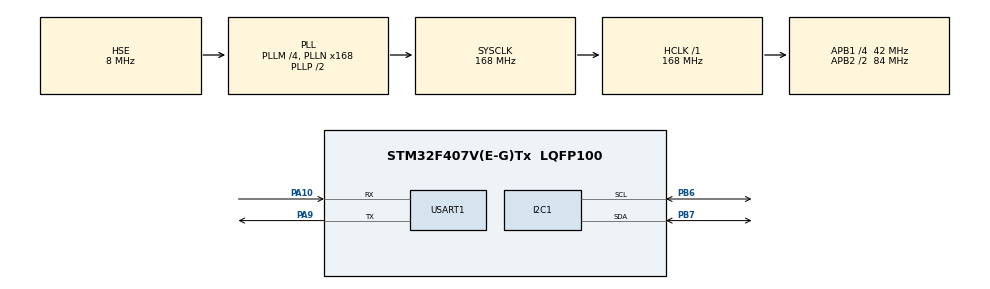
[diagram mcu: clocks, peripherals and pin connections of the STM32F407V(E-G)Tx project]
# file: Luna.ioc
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I2C1.I2C_Mode=I2C_Fast
Mcu.Family=STM32F4
Mcu.Name=STM32F407V(E-G)Tx
Mcu.Package=LQFP100
NVIC.PriorityGroup=NVIC_PRIORITYGROUP_4
PA10.Mode=Asynchronous
PA10.Signal=USART1_RX
PA13.Mode=Serial_Wire
PA13.Signal=SYS_JTMS-SWDIO
PA14.Mode=Serial_Wire
PA14.Signal=SYS_JTCK-SWCLK
PA9.Mode=Asynchronous
PA9.Signal=USART1_TX
PB6.Mode=I2C
PB6.Signal=I2C1_SCL
PB7.Mode=I2C
PB7.Signal=I2C1_SDA
PH0-OSC_IN.Mode=HSE-External-Oscillator
PH0-OSC_IN.Signal=RCC_OSC_IN
PH1-OSC_OUT.Mode=HSE-External-Oscillator
PH1-OSC_OUT.Signal=RCC_OSC_OUT
ProjectManager.HeapSize=0x200
ProjectManager.StackSize=0x400
ProjectManager.TargetToolchain=MDK-ARM V5.32
RCC.48MHZClocksFreq_Value=84000000
RCC.AHBFreq_Value=168000000
RCC.APB1CLKDivider=RCC_HCLK_DIV4
RCC.APB1Freq_Value=42000000
RCC.APB1TimFreq_Value=84000000
RCC.APB2CLKDivider=RCC_HCLK_DIV2
RCC.APB2Freq_Value=84000000
RCC.APB2TimFreq_Value=168000000
RCC.CortexFreq_Value=168000000
RCC.HCLKFreq_Value=168000000
RCC.HSE_VALUE=8000000
RCC.HSI_VALUE=16000000
RCC.LSE_VALUE=32768
RCC.PLLM=4
RCC.PLLN=168
RCC.PLLSourceVirtual=RCC_PLLSOURCE_HSE
RCC.SYSCLKFreq_VALUE=168000000
RCC.SYSCLKSource=RCC_SYSCLKSOURCE_PLLCLK
RCC.VCOOutputFreq_Value=336000000
USART1.VirtualMode=VM_ASYNC
board=custom

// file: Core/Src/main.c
/* USER CODE BEGIN Header */
/**
  ******************************************************************************
  * @file           : main.c
  * @brief          : Main program body
  ******************************************************************************
  * @attention
  *
  * <h2><center>&copy; Copyright (c) 2022 STMicroelectronics.
  * All rights reserved.</center></h2>
  *
  * This software component is licensed by ST under BSD 3-Clause license,
  * the "License"; You may not use this file except in compliance with the
  * License. You may obtain a copy of the License at:
  *                        opensource.org/licenses/BSD-3-Clause
  *
  ******************************************************************************
  */
/* USER CODE END Header */
#include "main.h"
#include "i2c.h"
#include "usart.h"
#include "gpio.h"

/* USER CODE BEGIN Includes */
#include "tfluna_i2c.h"
#include "stdio.h"

/* USER CODE END Includes */

/* USER CODE BEGIN PTD */
TF_Luna_Lidar TF_Luna_1;
int16_t  tfAddr = TFL_DEF_ADR;    // default I2C address = 0x10 (7 bit)
uint16_t tfFrame = TFL_DEF_FPS;   // default frame rate
// device variables passed back by getData
int16_t  tfDist = 0 ;   // distance in centimeters
int16_t  tfFlux = 0 ;   // signal quality in arbitrary units
int16_t  tfTemp = 0 ;   // temperature in 0.01 degree Celsius
// other device variables
uint16_t tfTime = 0;    // devie clock in milliseconds
uint8_t  tfVer[3];      // device version number
uint8_t  tfCode[14];    // device serial number
// sub-loop counter for Time display
uint8_t tfCount = 0;
/* USER CODE END PTD */

void SystemClock_Config(void);

int main(void)
{

  /* MCU Configuration--------------------------------------------------------*/

  /* Reset of all peripherals, Initializes the Flash interface and the Systick. */
  HAL_Init();

  /* Configure the system clock */
  SystemClock_Config();

  /* Initialize all configured peripherals */
  MX_GPIO_Init();
  MX_I2C1_Init();
  MX_USART1_UART_Init();
  /* USER CODE BEGIN 2 */
	TF_Luna_init(&TF_Luna_1, &hi2c1, 0x20); //0x10->7bit. 7bit Slave address has been already shifting to the left in the library.
  /* USER CODE END 2 */

  /* Infinite loop */
  while (1)
  {

    /* USER CODE BEGIN 3 */
		getData(&TF_Luna_1, &tfDist, &tfFlux, &tfTemp);
    printf("dist = %d\n",tfDist);
    HAL_Delay(4); // 250Hz
 // HAL_Delay(10); // 100Hz
  }
  /* USER CODE END 3 */
}

void SystemClock_Config(void)
{
  RCC_OscInitTypeDef RCC_OscInitStruct = {0};
  RCC_ClkInitTypeDef RCC_ClkInitStruct = {0};

  /** Configure the main internal regulator output voltage
  */
  __HAL_RCC_PWR_CLK_ENABLE();
  __HAL_PWR_VOLTAGESCALING_CONFIG(PWR_REGULATOR_VOLTAGE_SCALE1);
  /** Initializes the RCC Oscillators according to the specified parameters
  * in the RCC_OscInitTypeDef structure.
  */
  RCC_OscInitStruct.OscillatorType = RCC_OSCILLATORTYPE_HSE;
  RCC_OscInitStruct.HSEState = RCC_HSE_ON;
  RCC_OscInitStruct.PLL.PLLState = RCC_PLL_ON;
  RCC_OscInitStruct.PLL.PLLSource = RCC_PLLSOURCE_HSE;
  RCC_OscInitStruct.PLL.PLLM = 4;
  RCC_OscInitStruct.PLL.PLLN = 168;
  RCC_OscInitStruct.PLL.PLLP = RCC_PLLP_DIV2;
  RCC_OscInitStruct.PLL.PLLQ = 4;
  if (HAL_RCC_OscConfig(&RCC_OscInitStruct) != HAL_OK)
  {
    Error_Handler();
  }
  /** Initializes the CPU, AHB and APB buses clocks
  */
  RCC_ClkInitStruct.ClockType = RCC_CLOCKTYPE_HCLK|RCC_CLOCKTYPE_SYSCLK
                              |RCC_CLOCKTYPE_PCLK1|RCC_CLOCKTYPE_PCLK2;
  RCC_ClkInitStruct.SYSCLKSource = RCC_SYSCLKSOURCE_PLLCLK;
  RCC_ClkInitStruct.AHBCLKDivider = RCC_SYSCLK_DIV1;
  RCC_ClkInitStruct.APB1CLKDivider = RCC_HCLK_DIV4;
  RCC_ClkInitStruct.APB2CLKDivider = RCC_HCLK_DIV2;

  if (HAL_RCC_ClockConfig(&RCC_ClkInitStruct, FLASH_LATENCY_5) != HAL_OK)
  {
    Error_Handler();
  }
}

/* USER CODE BEGIN 4 */
int fputc(int ch, FILE *f)
{
  HAL_UART_Transmit(&huart1, (uint8_t *)&ch, 1, 0xffff);
  return ch;
}
/* USER CODE END 4 */

void Error_Handler(void)
{
  __disable_irq();
  while (1)
  {
  }
}

/************************ (C) COPYRIGHT STMicroelectronics *****END OF FILE****/
